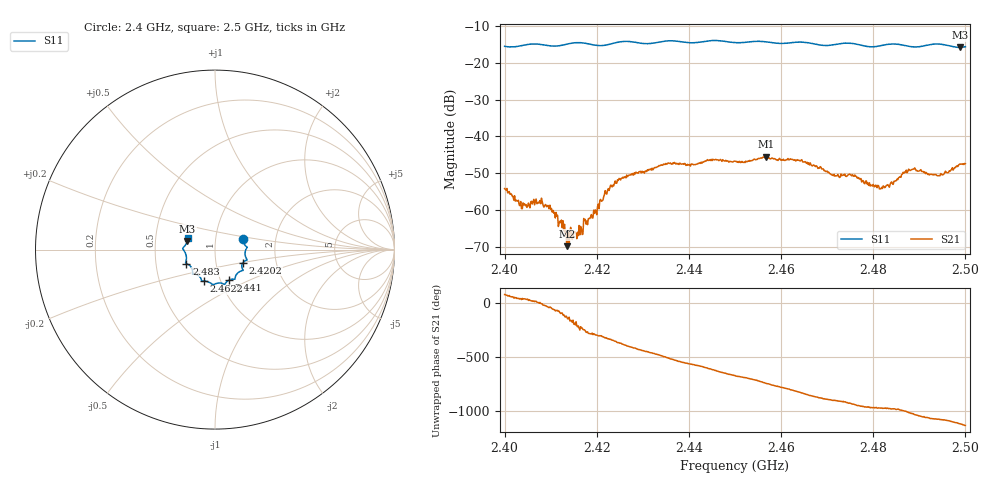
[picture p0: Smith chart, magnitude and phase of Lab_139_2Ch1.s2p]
# Hz S RI R 50
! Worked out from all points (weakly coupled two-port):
!   601 points, 2.4 GHz to 2.5 GHz, reference 50 ohm
!   highest |S21| = -45.52 dB at 2.4567 GHz (marker M1); lowest = -69.8 dB at 2.4135 GHz (marker M2)
!   lowest |S11| = -15.8 dB at 2.4988 GHz (marker M3), VSWR 1.39, Z = 36.4 + j3.49 ohm
!   |S11| at or under -10 dB: start of sweep to end of sweep
!   S12 and S22 are empty: the file has one direction only
!   S11 on the Smith chart (normalised r, x): 2.4 GHz: 1.36, +0.17; 2.4202 GHz: 1.35, -0.20; 2.441 GHz: 1.09, -0.39; 2.4622 GHz: 0.83, -0.30; 2.483 GHz: 0.72, -0.12; 2.5 GHz: 0.73, +0.09
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2.4e9  0.1562 0.0599  0.000424 0.00191  0 0  0 0
2.403667e9  0.1697 0.0214  0.000898 0.000539  0 0  0 0
2.407667e9  0.178 0.00996  0.00134 0.000105  0 0  0 0
2.409333e9  0.1718 -0.000991  0.000953 -0.000648  0 0  0 0
2.4125e9  0.1693 -0.0362  -2.66e-05 -0.000576  0 0  0 0
2.4135e9  0.173 -0.0458  -0.000208 -0.000248  0 0  0 0
2.416667e9  0.1777 -0.0583  -0.000357 0.000438  0 0  0 0
2.420167e9  0.1556 -0.072  0.000551 0.000967  0 0  0 0
2.4245e9  0.1543 -0.1105  0.00255 -0.000305  0 0  0 0
2.433333e9  0.1129 -0.1525  -0.00181 -0.00347  0 0  0 0
2.441e9  0.0765 -0.1706  -0.00361 0.002  0 0  0 0
2.45e9  0.0264 -0.1859  0.00299 0.00351  0 0  0 0
2.456667e9  -0.0166 -0.1921  0.00493 -0.00194  0 0  0 0
2.462167e9  -0.0634 -0.1762  0.000645 -0.00486  0 0  0 0
2.466667e9  -0.0763 -0.1666  -0.00298 -0.0027  0 0  0 0
2.471333e9  -0.1094 -0.1374  -0.00294 1.94e-05  0 0  0 0
2.483e9  -0.1594 -0.078  -0.000652 0.00209  0 0  0 0
2.483333e9  -0.1608 -0.0774  -0.00048 0.00207  0 0  0 0
2.488167e9  -0.1592 -0.0456  0.00175 0.00303  0 0  0 0
2.494333e9  -0.1794 0.00785  0.00291 0.000321  0 0  0 0
2.498833e9  -0.155 0.0466  0.00345 -0.00247  0 0  0 0
2.5e9  -0.1529 0.0631  0.00266 -0.00334  0 0  0 0
